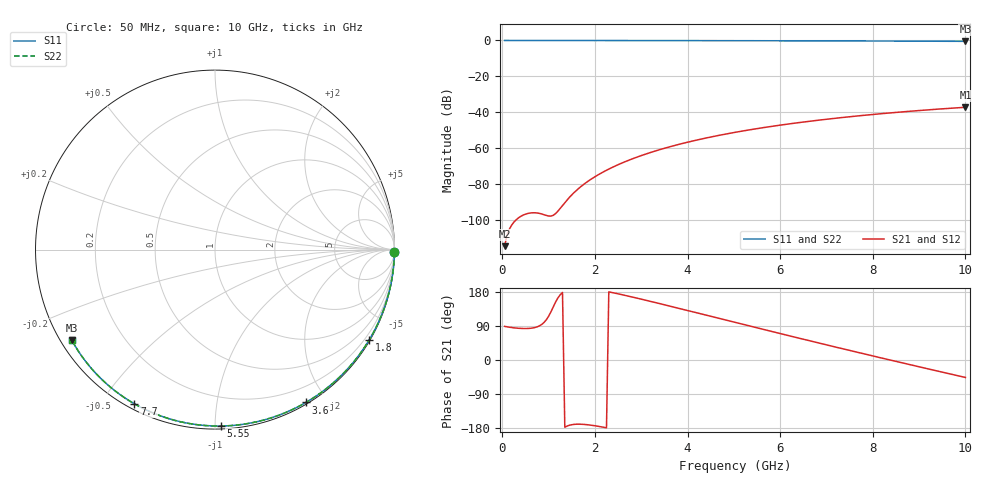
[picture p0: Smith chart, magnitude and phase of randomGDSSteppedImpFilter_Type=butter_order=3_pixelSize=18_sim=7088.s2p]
! freq	dB(S11)	phase(S11)	dB(S12)	phase(S12)
!  dB(S21)	phase(S21)	dB(S22)	phase(S22)
!S-par simulation data
#  GHz  S  DB  R 50
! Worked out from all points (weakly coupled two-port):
!   200 points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, 50 MHz to 10 GHz, reference 50 ohm
!   highest |S21| = -37.27 dB at 10 GHz (marker M1); lowest = -114.8 dB at 50 MHz (marker M2)
!   lowest |S11| = -0.5 dB at 10 GHz (marker M3), VSWR 34.83, Z = 1.56 - j14.5 ohm
!   |S11| at or under -10 dB: nowhere
!   |S22| runs from -0.5 to 0.0 dB; largest |S21 - S12| = 0
!   S11 on the Smith chart (normalised r, x): 50 MHz: open; 1.8 GHz: 0.03, -3.68; 3.6 GHz: 0.02, -1.76; 5.55 GHz: 0.02, -1.03; 7.7 GHz: 0.02, -0.61; 10 GHz: 0.03, -0.29
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0.05  -0.00 -0.9  -114.75 88.7  -114.75 88.7  -0.00 -0.9
0.45  -0.01 -7.7  -97.42 83.1  -97.42 83.1  -0.01 -7.7
0.9  -0.02 -15.4  -97.18 98.9  -97.18 98.9  -0.02 -15.4
1.3  -0.03 -22.1  -92.03 178.2  -92.03 178.2  -0.03 -22.1
1.75  -0.04 -29.6  -80.44 -169.8  -80.44 -169.8  -0.04 -29.6
1.8  -0.04 -30.4  -79.47 -170.3  -79.47 -170.3  -0.04 -30.4
1.95  -0.04 -32.9  -76.83 -172.6  -76.83 -172.6  -0.04 -32.9
2.1  -0.04 -35.3  -74.50 -175.5  -74.50 -175.5  -0.04 -35.3
2.3  -0.05 -38.6  -71.74 179.8  -71.74 179.8  -0.05 -38.6
2.5  -0.05 -41.8  -69.31 174.7  -69.31 174.7  -0.05 -41.8
2.9  -0.06 -48.3  -65.15 163.5  -65.15 163.5  -0.06 -48.3
3.4  -0.07 -56.1  -60.90 148.8  -60.90 148.8  -0.07 -56.1
3.6  -0.08 -59.3  -59.42 142.8  -59.42 142.8  -0.08 -59.3
4.3  -0.10 -69.9  -54.97 121.5  -54.97 121.5  -0.10 -69.9
5.05  -0.12 -81.0  -51.14 98.6  -51.14 98.6  -0.12 -81.0
5.55  -0.14 -88.2  -48.97 83.4  -48.97 83.4  -0.14 -88.2
6.1  -0.17 -95.9  -46.87 66.8  -46.87 66.8  -0.17 -95.9
6.7  -0.20 -104.2  -44.87 48.8  -44.87 48.8  -0.20 -104.2
7.7  -0.27 -117.6  -42.03 19.4  -42.03 19.4  -0.27 -117.6
8.35  -0.32 -126.2  -40.47 0.6  -40.47 0.6  -0.32 -126.2
9.2  -0.41 -137.3  -38.70 -23.6  -38.70 -23.6  -0.41 -137.3
10  -0.50 -147.7  -37.27 -46.1  -37.27 -46.1  -0.50 -147.7
